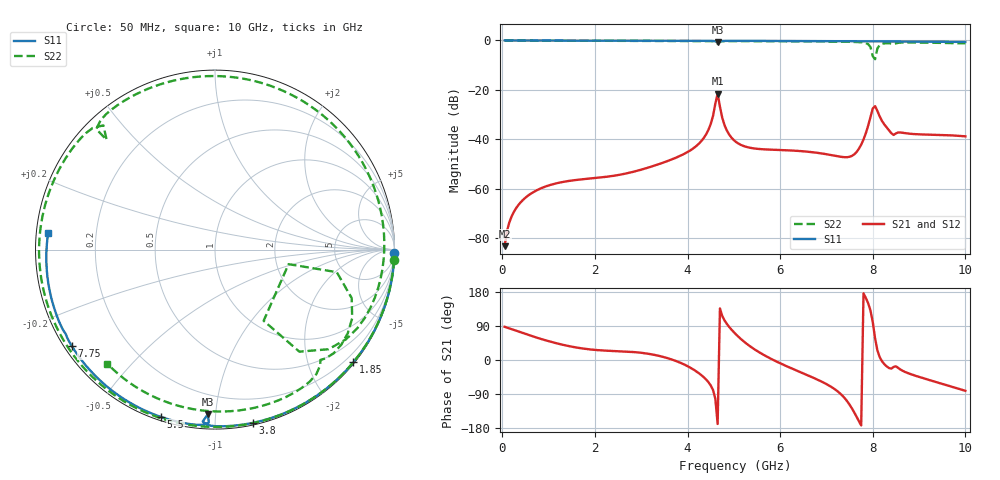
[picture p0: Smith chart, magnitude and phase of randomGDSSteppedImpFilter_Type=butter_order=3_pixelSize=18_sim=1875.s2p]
! freq	dB(S11)	phase(S11)	dB(S12)	phase(S12)
!  dB(S21)	phase(S21)	dB(S22)	phase(S22)
!S-par simulation data
#  GHz  S  DB  R 50
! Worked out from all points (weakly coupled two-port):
!   200 points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, 50 MHz to 10 GHz, reference 50 ohm
!   highest |S21| = -21.47 dB at 4.65 GHz (marker M1); lowest = -83.2 dB at 50 MHz (marker M2)
!   lowest |S11| = -0.8 dB at 4.65 GHz (marker M3), VSWR 23.15, Z = 4.14 - j47.7 ohm
!   |S11| at or under -10 dB: nowhere
!   |S22| runs from -7.6 to 0.0 dB; largest |S21 - S12| = 0
!   S11 on the Smith chart (normalised r, x): 50 MHz: open; 1.85 GHz: 0.03, -2.82; 3.8 GHz: 0.02, -1.24; 5.5 GHz: 0.02, -0.73; 7.75 GHz: 0.02, -0.30; 10 GHz: 0.03, +0.05
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0.05  -0.00 -1.1  -83.23 87.6  -83.23 87.6  -0.00 -3.3
0.25  -0.01 -5.4  -69.34 79.2  -69.34 79.2  -0.02 -16.4
0.55  -0.01 -11.8  -62.86 66.6  -62.86 66.6  -0.05 -35.6
1.15  -0.03 -24.5  -57.88 44.8  -57.88 44.8  -0.09 -71.8
1.75  -0.05 -37.1  -56.12 30.1  -56.12 30.1  -0.11 -104.0
1.85  -0.05 -39.1  -55.94 28.5  -55.94 28.5  -0.12 -109.0
3.4  -0.09 -69.9  -49.92 10.4  -49.92 10.4  -0.17 -176.7
3.8  -0.11 -77.5  -47.03 -5.0  -47.03 -5.0  -0.19 167.2
4.4  -0.14 -89.0  -38.03 -51.4  -38.03 -51.4  -0.23 142.6
4.65  -0.75 -92.4  -21.47 -168.9  -21.47 -168.9  -1.32 134.6
4.8  -0.17 -94.8  -34.33 104.3  -34.33 104.3  -0.28 128.7
5.05  -0.16 -99.8  -41.11 67.1  -41.11 67.1  -0.26 117.2
5.5  -0.18 -107.8  -43.83 23.9  -43.83 23.9  -0.28 97.2
6.7  -0.25 -128.4  -45.22 -46.0  -45.22 -46.0  -0.39 38.5
7.45  -0.31 -141.0  -47.22 -109.3  -47.22 -109.3  -0.53 -3.6
7.75  -0.34 -146.1  -42.16 -172.6  -42.16 -172.6  -0.75 -24.5
7.95  -0.37 -149.5  -31.00 131.0  -31.00 131.0  -2.64 -50.4
8.05  -0.39 -151.0  -26.57 57.1  -26.57 57.1  -7.58 -11.2
8.15  -0.38 -152.7  -30.79 7.4  -30.79 7.4  -1.85 -19.5
8.35  -0.39 -156.2  -36.32 -21.2  -36.32 -21.2  -1.13 -41.1
9.15  -0.48 -170.1  -38.07 -50.2  -38.07 -50.2  -0.89 -87.2
10  -0.59 174.2  -38.79 -81.3  -38.79 -81.3  -1.17 -133.3
